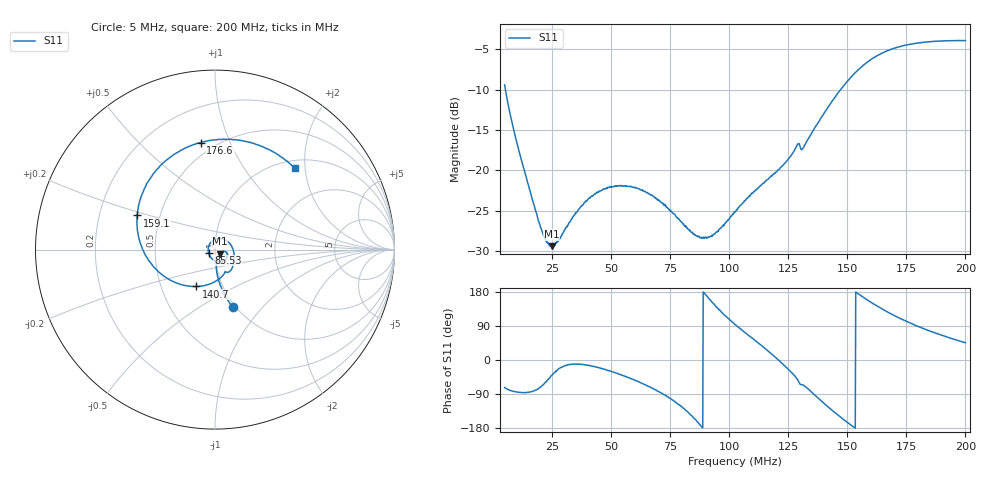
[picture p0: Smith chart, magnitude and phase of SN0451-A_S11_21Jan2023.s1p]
# Hz S DB R 50
! CMT, M5045, 22160017, 22.4.3/2
! Date: 1/21/2023 19:12:15
! Data: Format (Calibration Info)
! Freq	S11:dB/Ang(F1)
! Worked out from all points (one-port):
!   1001 points, 5 MHz to 200 MHz, reference 50 ohm
!   lowest |S11| = -29.4 dB at 24.89 MHz (marker M1), VSWR 1.07, Z = 52.6 - j2.33 ohm
!   |S11| at or under -10 dB: 5.337 MHz to 147.2 MHz (141.9 MHz wide, 186 % of centre)
!   S11 on the Smith chart (normalised r, x): 5 MHz: 0.97, -0.71; 85.53 MHz: 0.93, -0.03; 140.7 MHz: 0.75, -0.32; 159.1 MHz: 0.37, +0.18; 176.6 MHz: 0.42, +0.78; 200 MHz: 1.16, +1.76
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5000000  -9.43 -72.6
1.046e7  -16.87 -84.8
1.865e7  -25.45 -78.0
2.1965e7  -28.35 -60.4
2.489e7  -29.39 -40.7
2.9375e7  -27.88 -18.5
4.1075e7  -23.37 -14.9
5.375e7  -21.87 -37.8
6.662e7  -23.02 -71.8
7.8125e7  -25.85 -114.7
8.5535e7  -28.04 -155.9
9.2555e7  -28.08 153.9
1.025e8  -25.16 93.7
1.15175e8  -21.38 30.6
1.26875e8  -17.92 -35.8
1.2902e8  -16.76 -52.3
1.3136e8  -17.23 -66.4
1.35845e8  -14.97 -90.0
1.4072e8  -12.73 -117.3
1.45985e8  -10.47 -144.9
1.5125e8  -8.56 -170.2
1.5905e8  -6.51 156.3
1.6334e8  -5.71 139.7
1.6802e8  -5.07 123.4
1.75625e8  -4.45 100.2
1.766e8  -4.41 97.5
1.8674e8  -4.06 72.3
2e8  -3.95 45.6
